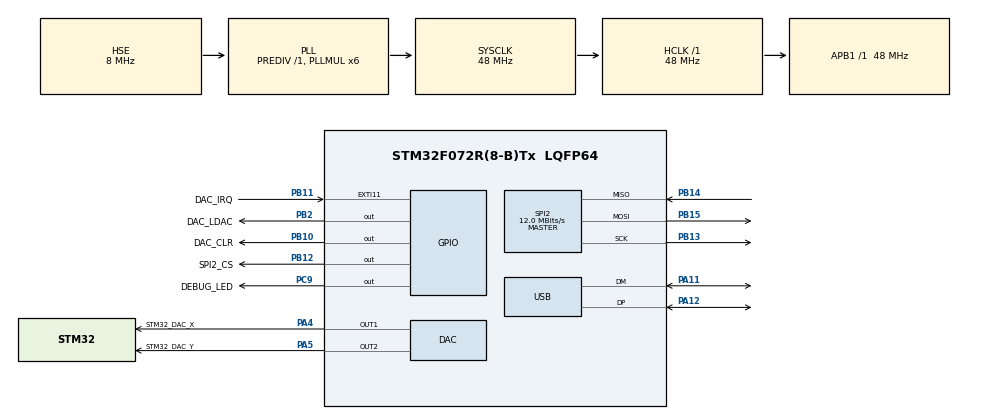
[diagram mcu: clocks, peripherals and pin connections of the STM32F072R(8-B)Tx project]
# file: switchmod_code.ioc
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Mcu.Family=STM32F0
Mcu.Name=STM32F072R(8-B)Tx
Mcu.Package=LQFP64
NVIC.USB_IRQn=true\:0\:0\:false\:false\:true
PA11.Mode=Device
PA11.Signal=USB_DM
PA12.Mode=Device
PA12.Signal=USB_DP
PA13.Mode=Serial_Wire
PA13.Signal=SYS_SWDIO
PA14.Mode=Serial_Wire
PA14.Signal=SYS_SWCLK
PA4.GPIO_Label=STM32_DAC_X
PA4.Signal=COMP_DAC1_group
PA5.GPIO_Label=STM32_DAC_Y
PA5.Signal=COMP_DAC2_group
PB10.GPIO_Label=DAC_CLR
PB10.GPIO_ModeDefaultOutputPP=GPIO_MODE_OUTPUT_OD
PB10.PinState=GPIO_PIN_SET
PB10.Signal=GPIO_Output
PB11.GPIO_Label=DAC_IRQ
PB11.GPIO_PuPd=GPIO_NOPULL
PB11.Signal=GPXTI11
PB12.GPIO_Label=SPI2_CS
PB12.GPIO_ModeDefaultOutputPP=GPIO_MODE_OUTPUT_OD
PB12.PinState=GPIO_PIN_SET
PB12.Signal=GPIO_Output
PB13.Mode=Full_Duplex_Master
PB13.Signal=SPI2_SCK
PB14.Mode=Full_Duplex_Master
PB14.Signal=SPI2_MISO
PB15.Mode=Full_Duplex_Master
PB15.Signal=SPI2_MOSI
PB2.GPIO_Label=DAC_LDAC
PB2.GPIO_ModeDefaultOutputPP=GPIO_MODE_OUTPUT_OD
PB2.PinState=GPIO_PIN_SET
PB2.Signal=GPIO_Output
PC9.GPIO_Label=DEBUG_LED
PC9.PinState=GPIO_PIN_SET
PC9.Signal=GPIO_Output
PF0-OSC_IN.Mode=HSE-External-Oscillator
PF0-OSC_IN.Signal=RCC_OSC_IN
PF1-OSC_OUT.Mode=HSE-External-Oscillator
PF1-OSC_OUT.Signal=RCC_OSC_OUT
ProjectManager.HeapSize=0x200
ProjectManager.StackSize=0x400
ProjectManager.TargetToolchain=MDK-ARM V5
RCC.AHBFreq_Value=48000000
RCC.APB1Freq_Value=48000000
RCC.APB1TimFreq_Value=48000000
RCC.HCLKFreq_Value=48000000
RCC.HSIState=RCC_HSI_ON
RCC.PLLMUL=RCC_PLL_MUL6
RCC.SYSCLKFreq_VALUE=48000000
RCC.SYSCLKSource=RCC_SYSCLKSOURCE_PLLCLK
RCC.USBClockSelection=RCC_USBCLKSOURCE_PLL
SH.COMP_DAC1_group.0=DAC_OUT1,DAC_OUT1
SH.COMP_DAC2_group.0=DAC_OUT2,DAC_OUT2
SPI2.BaudRatePrescaler=SPI_BAUDRATEPRESCALER_4
SPI2.CLKPhase=SPI_PHASE_1EDGE
SPI2.CLKPolarity=SPI_POLARITY_LOW
SPI2.CalculateBaudRate=12.0 MBits/s
SPI2.DataSize=SPI_DATASIZE_8BIT
SPI2.Mode=SPI_MODE_MASTER
SPI2.NSSPMode=SPI_NSS_PULSE_DISABLE
USB_DEVICE.CLASS_NAME_FS=CDC
USB_DEVICE.USBD_HandleTypeDef=hUsbDeviceFS
USB_DEVICE.VirtualMode=Cdc
USB_DEVICE.VirtualModeFS=Cdc_FS
VP_USB_DEVICE_VS_USB_DEVICE_CDC_FS.Mode=CDC_FS
board=switchmod_code

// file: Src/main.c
/**
  ******************************************************************************
  * File Name          : main.c
  * Description        : Main program body
  ******************************************************************************
  *
  * Copyright (c) 2017 STMicroelectronics International N.V.
  * All rights reserved.
  *
  * Redistribution and use in source and binary forms, with or without
  * modification, are permitted, provided that the following conditions are met:
  *
  * 1. Redistribution of source code must retain the above copyright notice,
  *    this list of conditions and the following disclaimer.
  * 2. Redistributions in binary form must reproduce the above copyright notice,
  *    this list of conditions and the following disclaimer in the documentation
  *    and/or other materials provided with the distribution.
  * 3. Neither the name of STMicroelectronics nor the names of other
  *    contributors to this software may be used to endorse or promote products
  *    derived from this software without specific written permission.
  * 4. This software, including modifications and/or derivative works of this
  *    software, must execute solely and exclusively on microcontroller or
  *    microprocessor devices manufactured by or for STMicroelectronics.
  * 5. Redistribution and use of this software other than as permitted under
  *    this license is void and will automatically terminate your rights under
  *    this license.
  *
  * THIS SOFTWARE IS PROVIDED BY STMICROELECTRONICS AND CONTRIBUTORS "AS IS"
  * AND ANY EXPRESS, IMPLIED OR STATUTORY WARRANTIES, INCLUDING, BUT NOT
  * LIMITED TO, THE IMPLIED WARRANTIES OF MERCHANTABILITY, FITNESS FOR A
  * PARTICULAR PURPOSE AND NON-INFRINGEMENT OF THIRD PARTY INTELLECTUAL PROPERTY
  * RIGHTS ARE DISCLAIMED TO THE FULLEST EXTENT PERMITTED BY LAW. IN NO EVENT
  * SHALL STMICROELECTRONICS OR CONTRIBUTORS BE LIABLE FOR ANY DIRECT, INDIRECT,
  * INCIDENTAL, SPECIAL, EXEMPLARY, OR CONSEQUENTIAL DAMAGES (INCLUDING, BUT NOT
  * LIMITED TO, PROCUREMENT OF SUBSTITUTE GOODS OR SERVICES; LOSS OF USE, DATA,
  * OR PROFITS; OR BUSINESS INTERRUPTION) HOWEVER CAUSED AND ON ANY THEORY OF
  * LIABILITY, WHETHER IN CONTRACT, STRICT LIABILITY, OR TORT (INCLUDING
  * NEGLIGENCE OR OTHERWISE) ARISING IN ANY WAY OUT OF THE USE OF THIS SOFTWARE,
  * EVEN IF ADVISED OF THE POSSIBILITY OF SUCH DAMAGE.
  *
  ******************************************************************************
  */
#include "main.h"
#include "stm32f0xx_hal.h"
#include "usb_device.h"

/* USER CODE BEGIN Includes */
#include <stdio.h>
#include <string.h>
#include <stdlib.h>
#include "helpers.h"
#include "shared.h"
#include "max572x.h"
#include "my_usb.h"
#include "cmd_parser.h"
/* USER CODE END Includes */

DAC_HandleTypeDef hdac;

SPI_HandleTypeDef hspi2;

/* USER CODE BEGIN PV */
/* Private variables ---------------------------------------------------------*/

/* USER CODE END PV */

void SystemClock_Config(void);
void Error_Handler(void);
static void MX_GPIO_Init(void);
static void MX_SPI2_Init(void);

/* USER CODE BEGIN PFP */
/* Private function prototypes -----------------------------------------------*/
static void MX_DAC_Init(void);

/* USER CODE END PFP */

/* USER CODE BEGIN 0 */

void stm32_dac_init(void)
{
	MX_DAC_Init();
  HAL_DAC_Start(stm32_dac_ptr, DAC_CHANNEL_1);
  HAL_DAC_Start(stm32_dac_ptr, DAC_CHANNEL_2);
  printf("STM32 built-in DAC initialized\n");
}

int fputc(int ch, FILE *f)
{
  my_usb_putchar((uint8_t)ch);
  return ch;
}
/* USER CODE END 0 */

int main(void)
{

  /* USER CODE BEGIN 1 */
  my_usb_init();
  /* USER CODE END 1 */

  /* MCU Configuration----------------------------------------------------------*/

  /* Reset of all peripherals, Initializes the Flash interface and the Systick. */
  HAL_Init();

  /* Configure the system clock */
  SystemClock_Config();

  /* Initialize all configured peripherals */
  MX_GPIO_Init();
  MX_SPI2_Init();
  MX_USB_DEVICE_Init();

  /* USER CODE BEGIN 2 */

  // built in dac starts in high-z mode
  HAL_DAC_DeInit(stm32_dac_ptr);
  spi_cs_high();
  printf("------------------started------------------\n");
  /* USER CODE END 2 */

  /* Infinite loop */
  while (1)
  {

  /* USER CODE BEGIN 3 */
    usb_data = my_usb_readline();
    if(usb_data != NULL)
    {
      parse_cmd(usb_data);
    }
  }
  /* USER CODE END 3 */

}

/** System Clock Configuration
*/
void SystemClock_Config(void)
{

  RCC_OscInitTypeDef RCC_OscInitStruct;
  RCC_ClkInitTypeDef RCC_ClkInitStruct;
  RCC_PeriphCLKInitTypeDef PeriphClkInit;

    /**Initializes the CPU, AHB and APB busses clocks
    */
  RCC_OscInitStruct.OscillatorType = RCC_OSCILLATORTYPE_HSE;
  RCC_OscInitStruct.HSEState = RCC_HSE_ON;
  RCC_OscInitStruct.HSIState = RCC_HSI_ON;
  RCC_OscInitStruct.PLL.PLLState = RCC_PLL_ON;
  RCC_OscInitStruct.PLL.PLLSource = RCC_PLLSOURCE_HSE;
  RCC_OscInitStruct.PLL.PLLMUL = RCC_PLL_MUL6;
  RCC_OscInitStruct.PLL.PREDIV = RCC_PREDIV_DIV1;
  if (HAL_RCC_OscConfig(&RCC_OscInitStruct) != HAL_OK)
  {
    Error_Handler();
  }

    /**Initializes the CPU, AHB and APB busses clocks
    */
  RCC_ClkInitStruct.ClockType = RCC_CLOCKTYPE_HCLK|RCC_CLOCKTYPE_SYSCLK
                              |RCC_CLOCKTYPE_PCLK1;
  RCC_ClkInitStruct.SYSCLKSource = RCC_SYSCLKSOURCE_PLLCLK;
  RCC_ClkInitStruct.AHBCLKDivider = RCC_SYSCLK_DIV1;
  RCC_ClkInitStruct.APB1CLKDivider = RCC_HCLK_DIV1;

  if (HAL_RCC_ClockConfig(&RCC_ClkInitStruct, FLASH_LATENCY_1) != HAL_OK)
  {
    Error_Handler();
  }

  PeriphClkInit.PeriphClockSelection = RCC_PERIPHCLK_USB;
  PeriphClkInit.UsbClockSelection = RCC_USBCLKSOURCE_PLL;

  if (HAL_RCCEx_PeriphCLKConfig(&PeriphClkInit) != HAL_OK)
  {
    Error_Handler();
  }

    /**Configure the Systick interrupt time
    */
  HAL_SYSTICK_Config(HAL_RCC_GetHCLKFreq()/1000);

    /**Configure the Systick
    */
  HAL_SYSTICK_CLKSourceConfig(SYSTICK_CLKSOURCE_HCLK);

  /* SysTick_IRQn interrupt configuration */
  HAL_NVIC_SetPriority(SysTick_IRQn, 0, 0);
}

/* DAC init function */
static void MX_DAC_Init(void)
{

  DAC_ChannelConfTypeDef sConfig;

    /**DAC Initialization
    */
  hdac.Instance = DAC;
  if (HAL_DAC_Init(&hdac) != HAL_OK)
  {
    Error_Handler();
  }

    /**DAC channel OUT1 config
    */
  sConfig.DAC_Trigger = DAC_TRIGGER_NONE;
  sConfig.DAC_OutputBuffer = DAC_OUTPUTBUFFER_ENABLE;
  if (HAL_DAC_ConfigChannel(&hdac, &sConfig, DAC_CHANNEL_1) != HAL_OK)
  {
    Error_Handler();
  }

    /**DAC channel OUT2 config
    */
  if (HAL_DAC_ConfigChannel(&hdac, &sConfig, DAC_CHANNEL_2) != HAL_OK)
  {
    Error_Handler();
  }

}

/* SPI2 init function */
static void MX_SPI2_Init(void)
{

  hspi2.Instance = SPI2;
  hspi2.Init.Mode = SPI_MODE_MASTER;
  hspi2.Init.Direction = SPI_DIRECTION_2LINES;
  hspi2.Init.DataSize = SPI_DATASIZE_8BIT;
  hspi2.Init.CLKPolarity = SPI_POLARITY_LOW;
  hspi2.Init.CLKPhase = SPI_PHASE_1EDGE;
  hspi2.Init.NSS = SPI_NSS_SOFT;
  hspi2.Init.BaudRatePrescaler = SPI_BAUDRATEPRESCALER_4;
  hspi2.Init.FirstBit = SPI_FIRSTBIT_MSB;
  hspi2.Init.TIMode = SPI_TIMODE_DISABLE;
  hspi2.Init.CRCCalculation = SPI_CRCCALCULATION_DISABLE;
  hspi2.Init.CRCPolynomial = 7;
  hspi2.Init.CRCLength = SPI_CRC_LENGTH_DATASIZE;
  hspi2.Init.NSSPMode = SPI_NSS_PULSE_DISABLE;
  if (HAL_SPI_Init(&hspi2) != HAL_OK)
  {
    Error_Handler();
  }

}

/** Configure pins as
        * Analog
        * Input
        * Output
        * EVENT_OUT
        * EXTI
*/
static void MX_GPIO_Init(void)
{

  GPIO_InitTypeDef GPIO_InitStruct;

  /* GPIO Ports Clock Enable */
  __HAL_RCC_GPIOF_CLK_ENABLE();
  __HAL_RCC_GPIOA_CLK_ENABLE();
  __HAL_RCC_GPIOB_CLK_ENABLE();
  __HAL_RCC_GPIOC_CLK_ENABLE();

  /*Configure GPIO pin Output Level */
  HAL_GPIO_WritePin(GPIOB, DAC_LDAC_Pin|DAC_CLR_Pin|SPI2_CS_Pin, GPIO_PIN_SET);

  /*Configure GPIO pin Output Level */
  HAL_GPIO_WritePin(DEBUG_LED_GPIO_Port, DEBUG_LED_Pin, GPIO_PIN_SET);

  /*Configure GPIO pins : DAC_LDAC_Pin DAC_CLR_Pin SPI2_CS_Pin */
  GPIO_InitStruct.Pin = DAC_LDAC_Pin|DAC_CLR_Pin|SPI2_CS_Pin;
  GPIO_InitStruct.Mode = GPIO_MODE_OUTPUT_OD;
  GPIO_InitStruct.Pull = GPIO_NOPULL;
  GPIO_InitStruct.Speed = GPIO_SPEED_FREQ_LOW;
  HAL_GPIO_Init(GPIOB, &GPIO_InitStruct);

  /*Configure GPIO pin : DAC_IRQ_Pin */
  GPIO_InitStruct.Pin = DAC_IRQ_Pin;
  GPIO_InitStruct.Mode = GPIO_MODE_IT_RISING;
  GPIO_InitStruct.Pull = GPIO_NOPULL;
  HAL_GPIO_Init(DAC_IRQ_GPIO_Port, &GPIO_InitStruct);

  /*Configure GPIO pin : DEBUG_LED_Pin */
  GPIO_InitStruct.Pin = DEBUG_LED_Pin;
  GPIO_InitStruct.Mode = GPIO_MODE_OUTPUT_PP;
  GPIO_InitStruct.Pull = GPIO_NOPULL;
  GPIO_InitStruct.Speed = GPIO_SPEED_FREQ_LOW;
  HAL_GPIO_Init(DEBUG_LED_GPIO_Port, &GPIO_InitStruct);

}

void Error_Handler(void)
{
  while(1)
  {
  }
}

/************************ (C) COPYRIGHT STMicroelectronics *****END OF FILE****/
